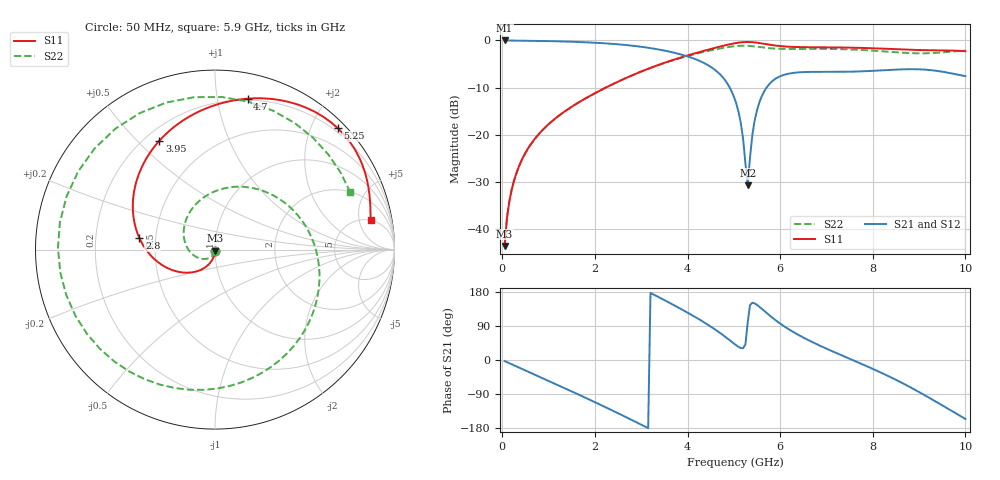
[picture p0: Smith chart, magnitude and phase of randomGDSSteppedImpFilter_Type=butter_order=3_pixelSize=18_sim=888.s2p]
! freq	dB(S11)	phase(S11)	dB(S12)	phase(S12)
!  dB(S21)	phase(S21)	dB(S22)	phase(S22)
!S-par simulation data
#  GHz  S  DB  R 50
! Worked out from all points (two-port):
!   200 points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, 50 MHz to 10 GHz, reference 50 ohm
!   highest |S21| = -0.01 dB at 50 MHz (marker M1); lowest = -30.8 dB at 5.3 GHz (marker M2)
!   |S21| within 3 dB of the highest: start of sweep to 3.868 GHz
!   lowest |S11| = -43.6 dB at 50 MHz (marker M3), VSWR 1.01, Z = 50 - j0.661 ohm
!   |S11| at or under -10 dB: start of sweep to 2.237 GHz
!   |S22| runs from -43.7 to -1.1 dB; largest |S21 - S12| = 0
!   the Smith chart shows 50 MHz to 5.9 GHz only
!   S11 on the Smith chart (normalised r, x): 50 MHz: 1.00, -0.01; 2.8 GHz: 0.40, +0.06; 3.95 GHz: 0.26, +0.58; 4.7 GHz: 0.19, +1.22; 5.25 GHz: 0.13, +2.42; 5.9 GHz: 4.92, +7.32
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0.05  -43.60 -89.4  -0.01 -2.8  -0.01 -2.8  -43.65 -91.3
0.2  -31.78 -95.9  -0.02 -11.0  -0.02 -11.0  -31.83 -105.1
0.5  -23.84 -106.5  -0.06 -27.5  -0.06 -27.5  -23.89 -129.2
1.15  -16.51 -128.0  -0.18 -63.3  -0.18 -63.3  -16.53 179.6
1.75  -12.56 -148.1  -0.37 -97.0  -0.37 -97.0  -12.56 132.1
2.8  -7.42 171.4  -1.11 -158.5  -1.11 -158.5  -7.42 49.7
3.4  -5.09 144.1  -1.96 164.4  -1.96 164.4  -5.14 3.0
3.95  -3.33 117.0  -3.24 128.5  -3.24 128.5  -3.45 -41.8
4.4  -2.08 93.9  -5.02 96.2  -5.02 96.2  -2.33 -83.9
4.7  -1.31 77.8  -7.18 71.6  -7.18 71.6  -1.71 -118.5
5.05  -0.54 57.4  -13.32 39.0  -13.32 39.0  -1.20 -171.5
5.25  -0.34 44.8  -26.12 41.1  -26.12 41.1  -1.13 150.2
5.3  -0.33 41.6  -30.76 99.9  -30.76 99.9  -1.15 140.0
5.5  -0.48 29.6  -14.81 145.5  -14.81 145.5  -1.34 97.7
5.9  -1.09 10.8  -8.13 105.1  -8.13 105.1  -1.74 23.3
6.2  -1.34 -0.4  -7.02 80.0  -7.02 80.0  -1.82 -17.4
6.7  -1.45 -18.1  -6.67 47.0  -6.67 47.0  -1.79 -66.1
7.45  -1.52 -43.5  -6.65 5.9  -6.65 5.9  -1.89 -122.1
8.35  -1.80 -71.8  -6.26 -43.3  -6.26 -43.3  -2.41 167.7
9.15  -2.07 -95.6  -6.21 -94.9  -6.21 -94.9  -2.73 85.0
9.6  -2.13 -111.4  -6.80 -126.8  -6.80 -126.8  -2.46 34.6
10  -2.30 -130.3  -7.58 -155.5  -7.58 -155.5  -2.13 -5.7
